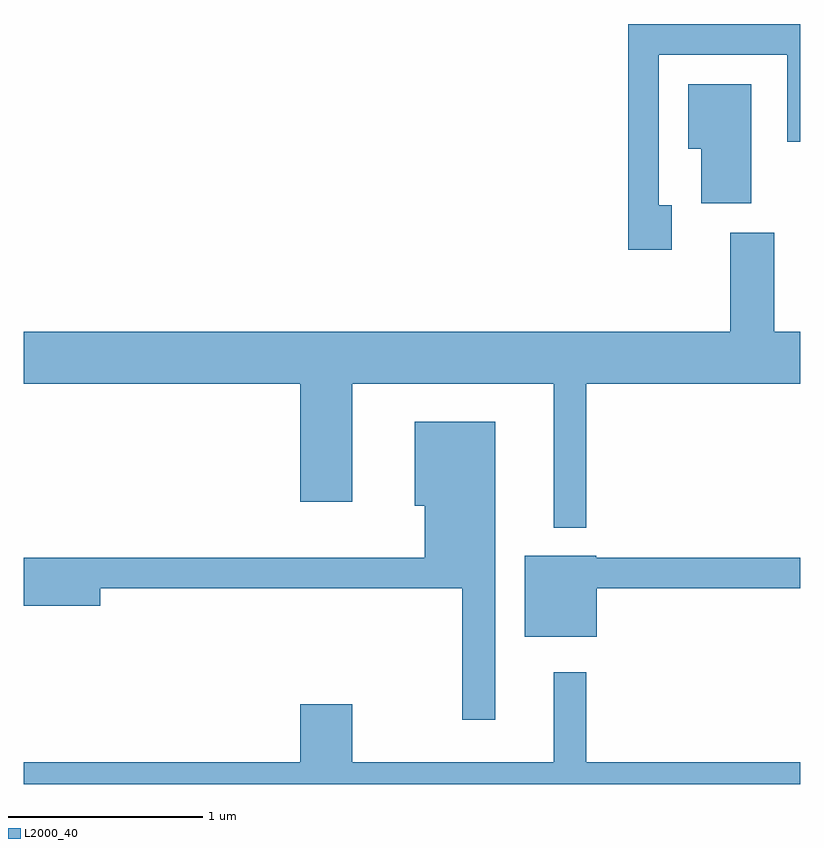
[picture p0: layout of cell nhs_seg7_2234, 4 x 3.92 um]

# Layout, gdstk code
import gdstk
lib = gdstk.Library(unit=1e-6, precision=1e-09)
def P(c, l, *ps):  # polygons
    for p in ps: c.add(gdstk.Polygon(p, *l))
L2000_40 = (2000, 40)

nhs_seg7_2234 = lib.new_cell('nhs_seg7_2234')
P(nhs_seg7_2234, L2000_40, [(256.949,1715.234),(256.884,1715.234),(256.884,1716.011),(257.546,1716.011),(257.546,1715.563),(257.611,1715.563),(257.611,1716.169),(256.726,1716.169),(256.726,1715.006),(256.949,1715.006)],
  [(257.359,1715.859),(257.036,1715.859),(257.036,1715.526),(257.101,1715.526),(257.101,1715.246),(257.359,1715.246)],
  [(256.509,1714.316),(257.611,1714.316),(257.611,1714.584),(257.479,1714.584),(257.479,1715.094),(257.251,1715.094),(257.251,1714.584),(253.611,1714.584),(253.611,1714.316),(255.036,1714.316),(255.036,1713.706),(255.304,1713.706),(255.304,1714.316),(256.341,1714.316),(256.341,1713.573),(256.509,1713.573)],
  [(256.039,1714.119),(255.626,1714.119),(255.626,1713.686),(255.676,1713.686),(255.676,1713.419),(253.611,1713.419),(253.611,1713.171),(254.004,1713.171),(254.004,1713.261),(255.871,1713.261),(255.871,1712.583),(256.039,1712.583)],
  [(256.564,1713.261),(257.611,1713.261),(257.611,1713.419),(256.56,1713.419),(256.56,1713.429),(256.191,1713.429),(256.191,1713.011),(256.564,1713.011)],
  [(257.611,1712.364),(256.509,1712.364),(256.509,1712.828),(256.341,1712.828),(256.341,1712.364),(255.304,1712.364),(255.304,1712.664),(255.036,1712.664),(255.036,1712.364),(253.611,1712.364),(253.611,1712.252),(257.611,1712.252)])

lib.write_gds('nhs_seg7_2234.gds')
